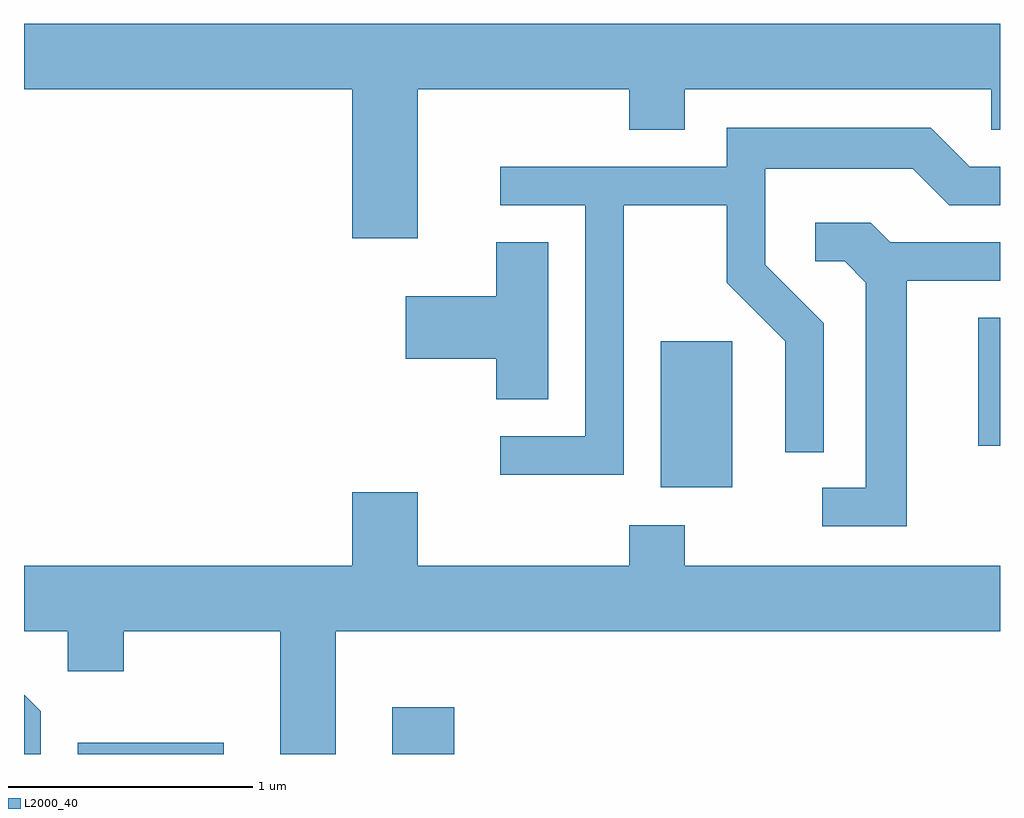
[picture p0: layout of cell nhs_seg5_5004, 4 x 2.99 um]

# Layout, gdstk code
import gdstk
lib = gdstk.Library(unit=1e-6, precision=1e-09)
def R(c, l, rs):  # rectangles x0, y0, x1, y1
    for r in rs: c.add(gdstk.rectangle(r[:2], r[2:], *l))
def P(c, l, *ps):  # polygons
    for p in ps: c.add(gdstk.Polygon(p, *l))
L2000_40 = (2000, 40)

nhs_seg5_5004 = lib.new_cell('nhs_seg5_5004')
R(nhs_seg5_5004, L2000_40, [(333.831,1454.072,334.429,1454.119), (335.121,1454.072,335.374,1454.264), (336.221,1455.166,336.514,1455.764), (337.521,1455.336,337.611,1455.859)])
P(nhs_seg5_5004, L2000_40, [(335.224,1456.796),(336.091,1456.796),(336.091,1456.631),(336.319,1456.631),(336.319,1456.796),(337.576,1456.796),(337.576,1456.631),(337.611,1456.631),(337.611,1457.064),(333.611,1457.064),(333.611,1456.796),(334.956,1456.796),(334.956,1456.186),(335.224,1456.186)],
  [(336.069,1456.321),(336.491,1456.321),(336.491,1456.004),(336.731,1455.764),(336.731,1455.308),(336.889,1455.308),(336.889,1455.837),(336.649,1456.077),(336.649,1456.471),(337.254,1456.471),(337.404,1456.321),(337.611,1456.321),(337.611,1456.479),(337.487,1456.479),(337.327,1456.639),(336.491,1456.639),(336.491,1456.479),(335.563,1456.479),(335.563,1456.321),(335.911,1456.321),(335.911,1455.374),(335.563,1455.374),(335.563,1455.216),(336.069,1455.216)],
  [(337.229,1456.011),(337.611,1456.011),(337.611,1456.169),(337.162,1456.169),(337.082,1456.249),(336.853,1456.249),(336.853,1456.091),(336.974,1456.091),(337.061,1456.004),(337.061,1455.164),(336.883,1455.164),(336.883,1455.006),(337.229,1455.006)],
  [(335.759,1456.169),(335.546,1456.169),(335.546,1455.949),(335.176,1455.949),(335.176,1455.691),(335.546,1455.691),(335.546,1455.526),(335.759,1455.526)],
  [(334.889,1454.576),(337.611,1454.576),(337.611,1454.844),(336.319,1454.844),(336.319,1455.009),(336.091,1455.009),(336.091,1454.844),(335.224,1454.844),(335.224,1455.144),(334.956,1455.144),(334.956,1454.844),(333.611,1454.844),(333.611,1454.576),(333.791,1454.576),(333.791,1454.411),(334.019,1454.411),(334.019,1454.576),(334.661,1454.576),(334.661,1454.072),(334.889,1454.072)],
  [(333.679,1454.247),(333.611,1454.315),(333.611,1454.072),(333.679,1454.072)])

lib.write_gds('nhs_seg5_5004.gds')
